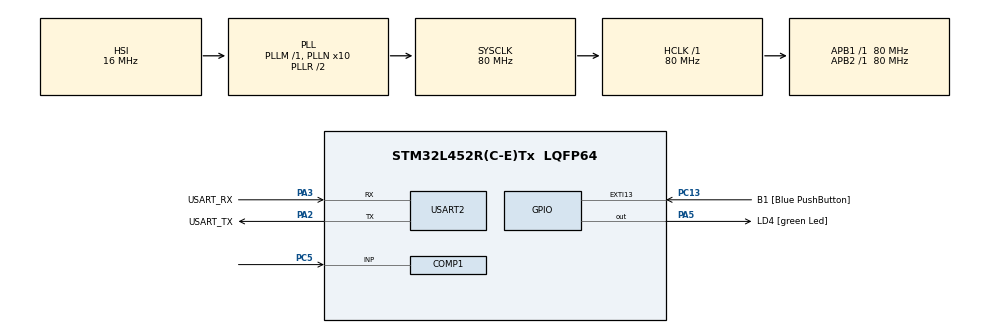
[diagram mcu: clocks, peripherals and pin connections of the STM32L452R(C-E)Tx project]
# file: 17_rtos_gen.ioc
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COMP1.Hysteresis=COMP_HYSTERESIS_NONE
COMP1.Mode=COMP_POWERMODE_ULTRALOWPOWER
COMP1.TriggerMode=COMP_TRIGGERMODE_IT_FALLING
FREERTOS.Tasks01=pulse_generator,24,128,pulseGeneratorTask,Default,NULL,Dynamic,NULL,NULL;monitor,16,128,monitorTask,Default,NULL,Dynamic,NULL,NULL
FREERTOS.configUSE_NEWLIB_REENTRANT=1
Mcu.Family=STM32L4
Mcu.Name=STM32L452R(C-E)Tx
Mcu.Package=LQFP64
NVIC.COMP_IRQn=true\:5\:0\:false\:false\:true\:true\:false\:true\:true
NVIC.PriorityGroup=NVIC_PRIORITYGROUP_4
NVIC.TIM6_DAC_IRQn=true\:15\:0\:false\:false\:true\:false\:false\:true\:true
NVIC.TimeBase=TIM6_DAC_IRQn
NVIC.TimeBaseIP=TIM6
PA13\ (JTMS/SWDIO).GPIO_Label=TMS
PA13\ (JTMS/SWDIO).Mode=Serial_Wire
PA13\ (JTMS/SWDIO).Signal=SYS_JTMS-SWDIO
PA14\ (JTCK/SWCLK).GPIO_Label=TCK
PA14\ (JTCK/SWCLK).Mode=Serial_Wire
PA14\ (JTCK/SWCLK).Signal=SYS_JTCK-SWCLK
PA2.GPIO_Label=USART_TX
PA2.GPIO_Mode=GPIO_MODE_AF_PP
PA2.GPIO_PuPd=GPIO_NOPULL
PA2.GPIO_Speed=GPIO_SPEED_FREQ_VERY_HIGH
PA2.Mode=Asynchronous
PA2.Signal=USART2_TX
PA3.GPIO_Label=USART_RX
PA3.GPIO_Mode=GPIO_MODE_AF_PP
PA3.GPIO_PuPd=GPIO_NOPULL
PA3.GPIO_Speed=GPIO_SPEED_FREQ_VERY_HIGH
PA3.Mode=Asynchronous
PA3.Signal=USART2_RX
PA5.GPIO_Label=LD4 [green Led]
PA5.GPIO_ModeDefaultOutputPP=GPIO_MODE_OUTPUT_PP
PA5.GPIO_PuPd=GPIO_NOPULL
PA5.GPIO_Speed=GPIO_SPEED_FREQ_LOW
PA5.Signal=GPIO_Output
PB3\ (JTDO/TRACESWO).GPIO_Label=SWO
PB3\ (JTDO/TRACESWO).Signal=SYS_JTDO-SWO
PC13.GPIO_Label=B1 [Blue PushButton]
PC13.GPIO_ModeDefaultEXTI=GPIO_MODE_IT_FALLING
PC13.GPIO_PuPd=GPIO_NOPULL
PC13.Signal=GPXTI13
PC14-OSC32_IN\ (PC14).Mode=LSE-External-Oscillator
PC14-OSC32_IN\ (PC14).Signal=RCC_OSC32_IN
PC15-OSC32_OUT\ (PC15).Mode=LSE-External-Oscillator
PC15-OSC32_OUT\ (PC15).Signal=RCC_OSC32_OUT
PC5.Mode=INP
PC5.Signal=COMP1_INP
PH0-OSC_IN\ (PH0).Signal=RCC_OSC_IN
PH1-OSC_OUT\ (PH1).Signal=RCC_OSC_OUT
ProjectManager.HeapSize=0x200
ProjectManager.StackSize=0x400
ProjectManager.TargetToolchain=STM32CubeIDE
RCC.ADCFreq_Value=64000000
RCC.AHBFreq_Value=80000000
RCC.APB1Freq_Value=80000000
RCC.APB1TimFreq_Value=80000000
RCC.APB2Freq_Value=80000000
RCC.APB2TimFreq_Value=80000000
RCC.CortexFreq_Value=80000000
RCC.HCLKFreq_Value=80000000
RCC.HSE_VALUE=8000000
RCC.HSI48_VALUE=48000000
RCC.HSI_VALUE=16000000
RCC.MSI_VALUE=4000000
RCC.PLLN=10
RCC.PLLSourceVirtual=RCC_PLLSOURCE_HSI
RCC.PREFETCH_ENABLE=1
RCC.SYSCLKFreq_VALUE=80000000
RCC.SYSCLKSource=RCC_SYSCLKSOURCE_PLLCLK
RCC.USBFreq_Value=64000000
RCC.VCOOutputFreq_Value=160000000
USART2.VirtualMode-Asynchronous=VM_ASYNC
VP_COMP1_VS_VREFINT12.Mode=VREFINT_12
VP_FREERTOS_VS_CMSIS_V2.Mode=CMSIS_V2
VP_SYS_VS_tim6.Mode=TIM6
board=NUCLEO-L452RE

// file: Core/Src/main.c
/* USER CODE BEGIN Header */
/**
  ******************************************************************************
  * @file           : main.c
  * @brief          : Main program body
  ******************************************************************************
  * @attention
  *
  * Copyright (c) 2022 STMicroelectronics.
  * All rights reserved.
  *
  * This software is licensed under terms that can be found in the LICENSE file
  * in the root directory of this software component.
  * If no LICENSE file comes with this software, it is provided AS-IS.
  *
  ******************************************************************************
  */
/* USER CODE END Header */
#include "main.h"
#include "cmsis_os.h"

/* USER CODE BEGIN Includes */
#include "stdio.h"
/* USER CODE END Includes */

COMP_HandleTypeDef hcomp1;

UART_HandleTypeDef huart2;

/* Definitions for pulse_generator */
osThreadId_t pulse_generatorHandle;
const osThreadAttr_t pulse_generator_attributes = {
  .name = "pulse_generator",
  .stack_size = 128 * 4,
  .priority = (osPriority_t) osPriorityNormal,
};
/* Definitions for monitor */
osThreadId_t monitorHandle;
const osThreadAttr_t monitor_attributes = {
  .name = "monitor",
  .stack_size = 128 * 4,
  .priority = (osPriority_t) osPriorityBelowNormal,
};

void SystemClock_Config(void);
static void MX_GPIO_Init(void);
static void MX_USART2_UART_Init(void);
static void MX_COMP1_Init(void);
void pulseGeneratorTask(void *argument);
void monitorTask(void *argument);

/* USER CODE BEGIN 0 */
unsigned pulse_in_counter = 0;
/* USER CODE END 0 */

int main(void)
{

  /* MCU Configuration--------------------------------------------------------*/

  /* Reset of all peripherals, Initializes the Flash interface and the Systick. */
  HAL_Init();

  /* Configure the system clock */
  SystemClock_Config();

  /* Initialize all configured peripherals */
  MX_GPIO_Init();
  MX_USART2_UART_Init();
  MX_COMP1_Init();
  /* USER CODE BEGIN 2 */
  HAL_COMP_Start(&hcomp1);

  /* USER CODE END 2 */

  /* Init scheduler */
  osKernelInitialize();

  /* Create the thread(s) */
  /* creation of pulse_generator */
  pulse_generatorHandle = osThreadNew(pulseGeneratorTask, NULL, &pulse_generator_attributes);

  /* creation of monitor */
  monitorHandle = osThreadNew(monitorTask, NULL, &monitor_attributes);

  /* Start scheduler */
  osKernelStart();

  /* We should never get here as control is now taken by the scheduler */
  /* Infinite loop */
  while (1)
  {

  }
}

void SystemClock_Config(void)
{
  RCC_OscInitTypeDef RCC_OscInitStruct = {0};
  RCC_ClkInitTypeDef RCC_ClkInitStruct = {0};

  /** Configure the main internal regulator output voltage
  */
  if (HAL_PWREx_ControlVoltageScaling(PWR_REGULATOR_VOLTAGE_SCALE1) != HAL_OK)
  {
    Error_Handler();
  }

  /** Initializes the RCC Oscillators according to the specified parameters
  * in the RCC_OscInitTypeDef structure.
  */
  RCC_OscInitStruct.OscillatorType = RCC_OSCILLATORTYPE_HSI;
  RCC_OscInitStruct.HSIState = RCC_HSI_ON;
  RCC_OscInitStruct.HSICalibrationValue = RCC_HSICALIBRATION_DEFAULT;
  RCC_OscInitStruct.PLL.PLLState = RCC_PLL_ON;
  RCC_OscInitStruct.PLL.PLLSource = RCC_PLLSOURCE_HSI;
  RCC_OscInitStruct.PLL.PLLM = 1;
  RCC_OscInitStruct.PLL.PLLN = 10;
  RCC_OscInitStruct.PLL.PLLP = RCC_PLLP_DIV7;
  RCC_OscInitStruct.PLL.PLLQ = RCC_PLLQ_DIV2;
  RCC_OscInitStruct.PLL.PLLR = RCC_PLLR_DIV2;
  if (HAL_RCC_OscConfig(&RCC_OscInitStruct) != HAL_OK)
  {
    Error_Handler();
  }

  /** Initializes the CPU, AHB and APB buses clocks
  */
  RCC_ClkInitStruct.ClockType = RCC_CLOCKTYPE_HCLK|RCC_CLOCKTYPE_SYSCLK
                              |RCC_CLOCKTYPE_PCLK1|RCC_CLOCKTYPE_PCLK2;
  RCC_ClkInitStruct.SYSCLKSource = RCC_SYSCLKSOURCE_PLLCLK;
  RCC_ClkInitStruct.AHBCLKDivider = RCC_SYSCLK_DIV1;
  RCC_ClkInitStruct.APB1CLKDivider = RCC_HCLK_DIV1;
  RCC_ClkInitStruct.APB2CLKDivider = RCC_HCLK_DIV1;

  if (HAL_RCC_ClockConfig(&RCC_ClkInitStruct, FLASH_LATENCY_4) != HAL_OK)
  {
    Error_Handler();
  }
}

static void MX_COMP1_Init(void)
{

  hcomp1.Instance = COMP1;
  hcomp1.Init.InvertingInput = COMP_INPUT_MINUS_1_2VREFINT;
  hcomp1.Init.NonInvertingInput = COMP_INPUT_PLUS_IO1;
  hcomp1.Init.OutputPol = COMP_OUTPUTPOL_NONINVERTED;
  hcomp1.Init.Hysteresis = COMP_HYSTERESIS_NONE;
  hcomp1.Init.BlankingSrce = COMP_BLANKINGSRC_NONE;
  hcomp1.Init.Mode = COMP_POWERMODE_ULTRALOWPOWER;
  hcomp1.Init.WindowMode = COMP_WINDOWMODE_DISABLE;
  hcomp1.Init.TriggerMode = COMP_TRIGGERMODE_IT_FALLING;
  if (HAL_COMP_Init(&hcomp1) != HAL_OK)
  {
    Error_Handler();
  }

}

static void MX_USART2_UART_Init(void)
{

  huart2.Instance = USART2;
  huart2.Init.BaudRate = 115200;
  huart2.Init.WordLength = UART_WORDLENGTH_8B;
  huart2.Init.StopBits = UART_STOPBITS_1;
  huart2.Init.Parity = UART_PARITY_NONE;
  huart2.Init.Mode = UART_MODE_TX_RX;
  huart2.Init.HwFlowCtl = UART_HWCONTROL_NONE;
  huart2.Init.OverSampling = UART_OVERSAMPLING_16;
  huart2.Init.OneBitSampling = UART_ONE_BIT_SAMPLE_DISABLE;
  huart2.AdvancedInit.AdvFeatureInit = UART_ADVFEATURE_NO_INIT;
  if (HAL_UART_Init(&huart2) != HAL_OK)
  {
    Error_Handler();
  }

}

static void MX_GPIO_Init(void)
{
  GPIO_InitTypeDef GPIO_InitStruct = {0};

  /* GPIO Ports Clock Enable */
  __HAL_RCC_GPIOC_CLK_ENABLE();
  __HAL_RCC_GPIOH_CLK_ENABLE();
  __HAL_RCC_GPIOA_CLK_ENABLE();
  __HAL_RCC_GPIOB_CLK_ENABLE();

  /*Configure GPIO pin Output Level */
  HAL_GPIO_WritePin(LD4_GPIO_Port, LD4_Pin, GPIO_PIN_RESET);

  /*Configure GPIO pin : B1_Pin */
  GPIO_InitStruct.Pin = B1_Pin;
  GPIO_InitStruct.Mode = GPIO_MODE_IT_FALLING;
  GPIO_InitStruct.Pull = GPIO_NOPULL;
  HAL_GPIO_Init(B1_GPIO_Port, &GPIO_InitStruct);

  /*Configure GPIO pin : LD4_Pin */
  GPIO_InitStruct.Pin = LD4_Pin;
  GPIO_InitStruct.Mode = GPIO_MODE_OUTPUT_PP;
  GPIO_InitStruct.Pull = GPIO_NOPULL;
  GPIO_InitStruct.Speed = GPIO_SPEED_FREQ_LOW;
  HAL_GPIO_Init(LD4_GPIO_Port, &GPIO_InitStruct);

}

/* USER CODE BEGIN 4 */
void HAL_COMP_TriggerCallback(COMP_HandleTypeDef *hcomp)
{
  pulse_in_counter++;
}

/* USER CODE END 4 */

void pulseGeneratorTask(void *argument)
{
  /* USER CODE BEGIN 5 */
  /* Infinite loop */
  unsigned pulses = 1000;

  for(;;)
  {
    if(pulses)
    {
      HAL_GPIO_TogglePin(GPIOA, GPIO_PIN_5);
      pulses--;
      osDelay(1);
    }
    else
    {
      osDelay(1000);
    }
  }
  /* USER CODE END 5 */
}

void monitorTask(void *argument)
{
  /* USER CODE BEGIN monitorTask */
  /* Infinite loop */
  char buf[80];
  uint16_t buf_len;

  buf_len = sprintf(buf, "FLOWMEET \r\n");
  HAL_UART_Transmit(&huart2, (uint8_t *) buf, buf_len, 100);
  for(;;)
  {
    buf_len = sprintf(buf, "Pulsos de entrada = %d\r\n", pulse_in_counter);
    HAL_UART_Transmit(&huart2, (uint8_t *)buf, buf_len, 100);

    osDelay(500);
  }
  /* USER CODE END monitorTask */
}

void HAL_TIM_PeriodElapsedCallback(TIM_HandleTypeDef *htim)
{
  if (htim->Instance == TIM6) {
    HAL_IncTick();
  }
}

void Error_Handler(void)
{
  __disable_irq();
  while (1)
  {
  }
}
